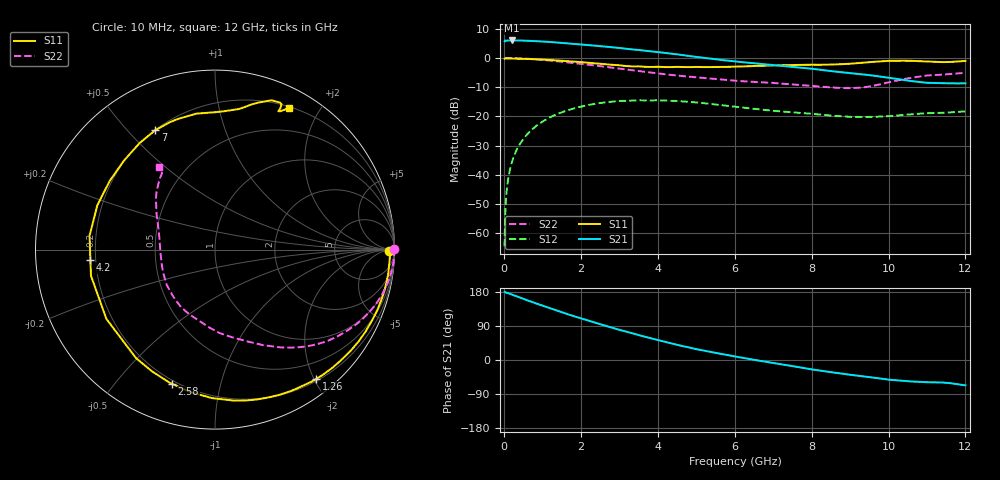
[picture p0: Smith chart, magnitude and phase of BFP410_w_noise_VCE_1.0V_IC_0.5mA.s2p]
! Infineon Technologies  Discrete & RF Semiconductors
! BFP410
! VCE =  1.0 V,  IC =  0.5 mA
! Common Emitter S-Parameters:  Nov 2015
# GHz  S  MA  R  50
!  f  S11  S21  S12  S22
! GHz  MAG  ANG  MAG  ANG  MAG  ANG  MAG  ANG
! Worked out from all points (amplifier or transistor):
!   243 points, 10 MHz to 12 GHz, reference 50 ohm
!   highest |S21| = 6.0 dB at 200 MHz (marker M1)
!   |S21| within 3 dB of that: start of sweep to 3.278 GHz
!   unconditionally stable (mu >= 1): 4.74 GHz to end of sweep
!   at 240 MHz: K = 0.02, MSG = 20.0 dB, |S12| = -34.1 dB
!   at 1.84 GHz: K = 0.29, MSG = 11.0 dB, |S12| = -17.2 dB
!   at 12 GHz: K = 1.53, MAG = 0.5 dB, |S12| = -18.3 dB
!   lowest NFmin = 0.85 dB at 900 MHz
!   S11 on the Smith chart (normalised r, x): 10 MHz: 59, -20; 1.26 GHz: 0.23, -2.03; 2.58 GHz: 0.18, -0.71; 4.2 GHz: 0.18, -0.04; 7 GHz: 0.20, +0.60; 12 GHz: 0.22, +1.63
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0.01  0.9699 -0.6  1.92 179.8  0.0006 53.2  1 0.2
0.02  0.9748 -0.6  1.983 179.5  0.0017 89.0  0.9973 -0.2
0.055  0.9754 -2.0  1.972 177.5  0.0046 89.7  0.9988 -1.2
0.11  0.9744 -4.4  1.985 176.1  0.009 87.4  0.998 -2.5
0.2  0.9746 -8.0  1.989 172.7  0.0165 85.0  0.9956 -4.7
0.34  0.9711 -13.7  1.987 167.5  0.0281 81.7  0.9888 -8.0
0.58  0.9606 -23.6  1.966 158.2  0.0478 75.4  0.9703 -13.5
1.26  0.9148 -52.0  1.857 134.0  0.1011 57.0  0.8915 -27.6
1.6  0.8853 -66.2  1.785 122.4  0.1239 47.8  0.8458 -34.0
2.02  0.8456 -83.5  1.69 109.2  0.1477 37.2  0.7908 -41.0
2.58  0.7855 -107.7  1.573 91.8  0.172 22.9  0.7115 -50.0
3.5  0.7179 -147.5  1.368 65.5  0.188 1.9  0.5951 -63.4
4.1  0.6999 -171.7  1.236 50.0  0.1868 -9.6  0.5333 -72.0
4.2  0.6965 -175.3  1.212 47.5  0.1857 -11.5  0.524 -73.6
5  0.7006 159.3  1.041 28.5  0.1732 -24.9  0.4659 -86.8
6.1  0.7113 133.4  0.859 7.7  0.1438 -36.6  0.4032 -103.7
7  0.7441 116.5  0.754 -8.0  0.1244 -40.5  0.3733 -120.1
8.2  0.7632 93.9  0.629 -27.6  0.1075 -41.8  0.3231 -149.5
9.2  0.8146 77.9  0.532 -41.3  0.0977 -36.8  0.3076 175.6
10.2  0.8923 67.7  0.438 -53.5  0.1032 -30.9  0.4063 143.7
11  0.8672 65.2  0.375 -58.6  0.1133 -31.2  0.5003 128.1
12  0.8873 62.5  0.367 -66.9  0.1218 -33.0  0.5557 124.3
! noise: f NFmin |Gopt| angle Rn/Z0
0.45  0.91  0.8  10  0.81
0.9  0.85  0.78  25  0.75
1.8  1.38  0.67  59  0.64
2.4  1.54  0.64  75  0.53
5.5  3.38  0.54  -159  0.23
